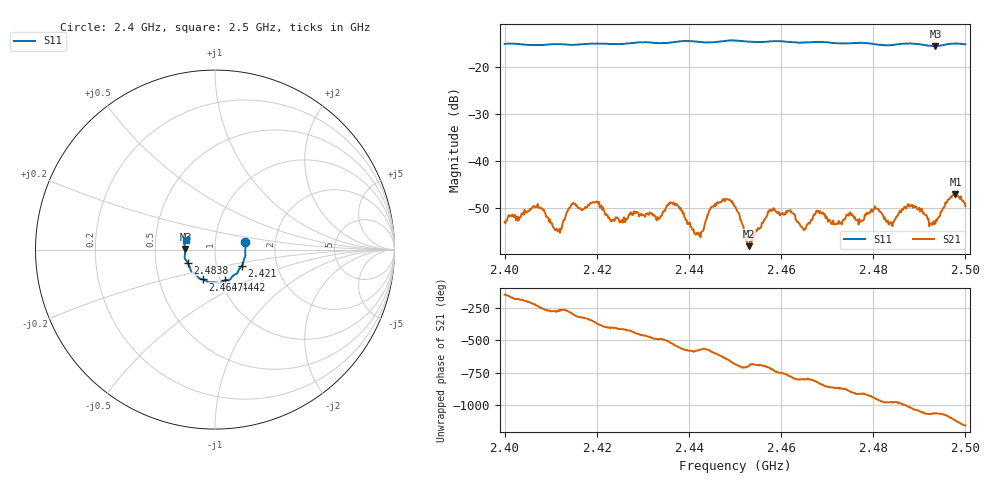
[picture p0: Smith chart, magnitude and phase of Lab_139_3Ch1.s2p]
# Hz S RI R 50
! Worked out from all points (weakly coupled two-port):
!   601 points, 2.4 GHz to 2.5 GHz, reference 50 ohm
!   highest |S21| = -47.19 dB at 2.4978 GHz (marker M1); lowest = -58.2 dB at 2.453 GHz (marker M2)
!   lowest |S11| = -15.7 dB at 2.4935 GHz (marker M3), VSWR 1.39, Z = 35.8 + j0.195 ohm
!   |S11| at or under -10 dB: start of sweep to end of sweep
!   S12 and S22 are empty: the file has one direction only
!   S11 on the Smith chart (normalised r, x): 2.4 GHz: 1.40, +0.12; 2.421 GHz: 1.33, -0.24; 2.4442 GHz: 1.05, -0.37; 2.4647 GHz: 0.83, -0.29; 2.4838 GHz: 0.73, -0.11; 2.5 GHz: 0.71, +0.08
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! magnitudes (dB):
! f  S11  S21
! 2.4 GHz  -15.2  -53.1
! 2.4068 GHz  -15.4  -49.9
! 2.4118 GHz  -15.2  -54.6
! 2.4145 GHz  -15.4  -49.3
! 2.4167 GHz  -15.3  -50.3
! 2.421 GHz  -15.1  -49.6
! 2.4333 GHz  -15.0  -52.5
! 2.4372 GHz  -14.8  -49.1
! 2.442 GHz  -14.7  -55.3
! 2.4442 GHz  -14.9  -51.4
! 2.45 GHz  -14.5  -49.7
! 2.453 GHz  -14.7  -58.2
! 2.458 GHz  -14.6  -50.7
! 2.4647 GHz  -14.9  -54.4
! 2.4667 GHz  -14.8  -52.7
! 2.4807 GHz  -15.3  -50.2
! 2.4833 GHz  -15.5  -53.6
! 2.4838 GHz  -15.5  -53.1
! 2.488 GHz  -15.1  -49.8
! 2.4935 GHz  -15.7  -53.3
! 2.4978 GHz  -15.1  -47.2
! 2.5 GHz  -15.3  -49.7
